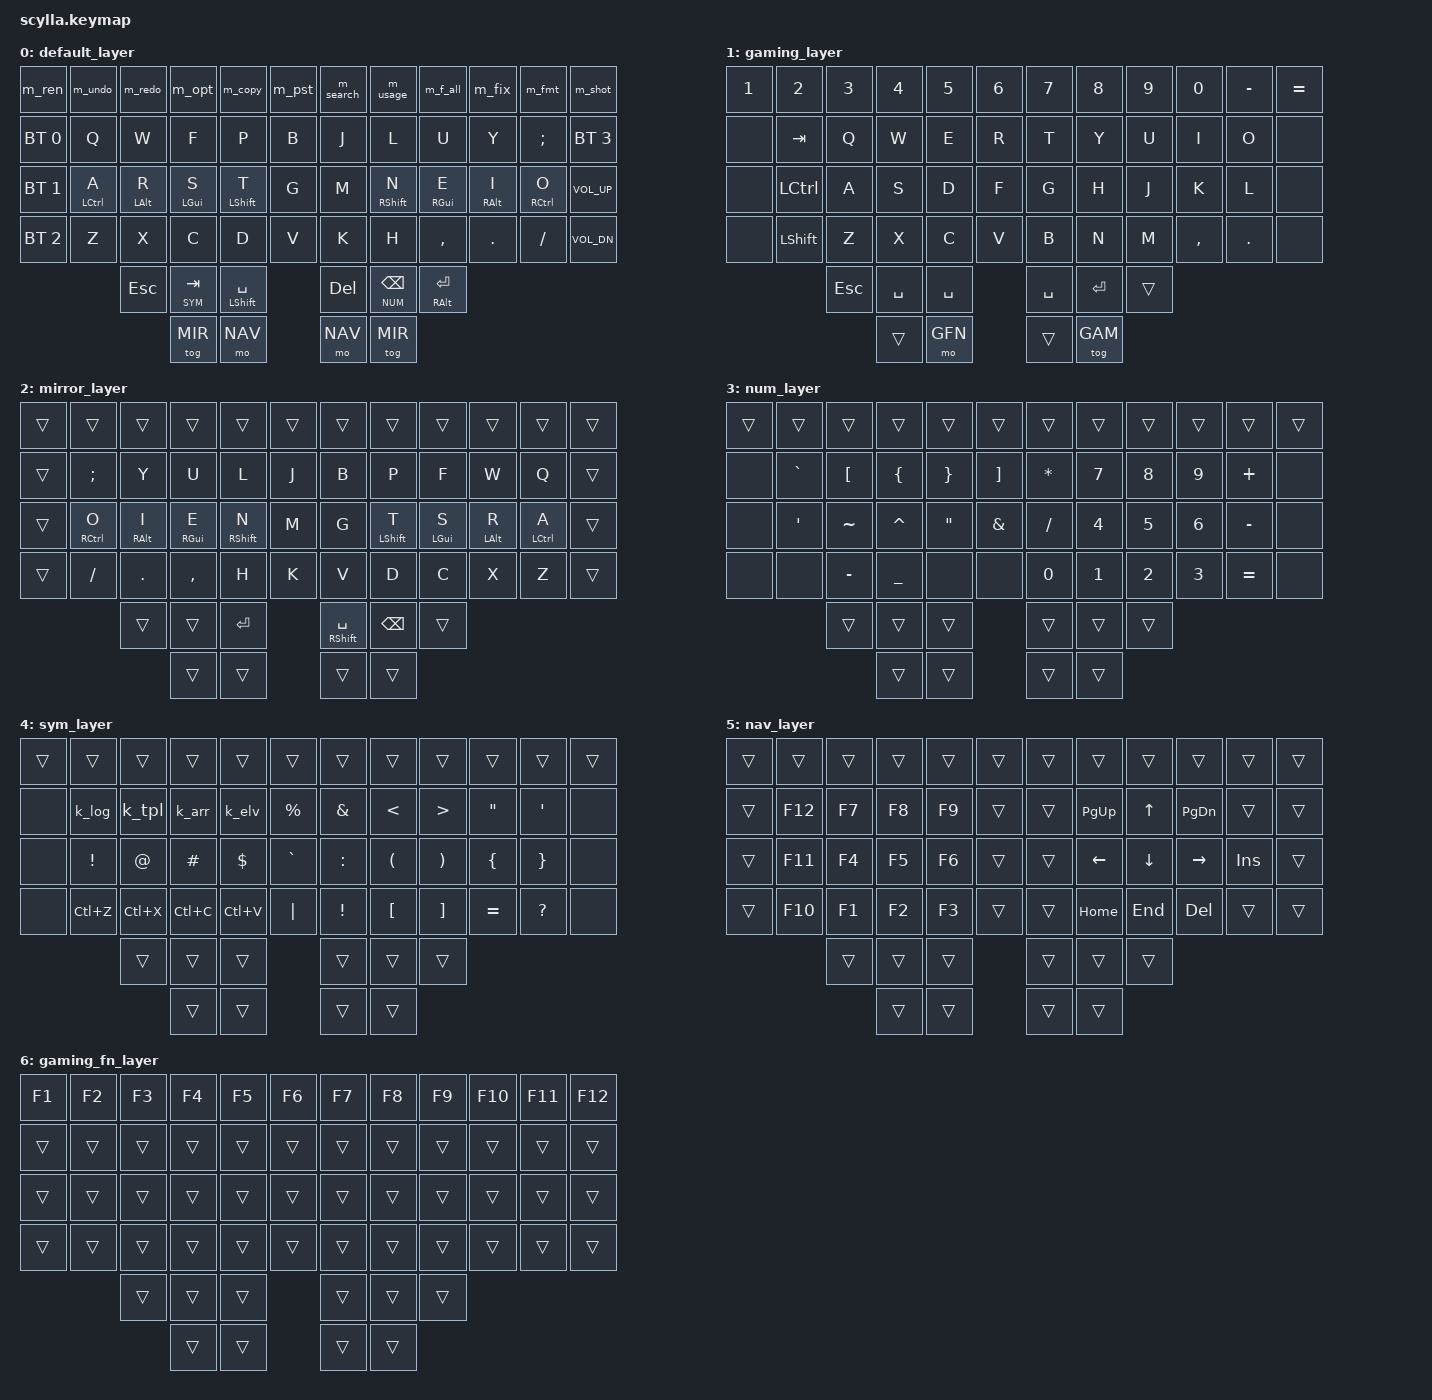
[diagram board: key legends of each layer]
/* ZMK Scylla Ultimate V9.4 - Syntax & Node Name Fix */

#include <behaviors.dtsi>
#include <dt-bindings/zmk/keys.h>
#include <dt-bindings/zmk/bt.h>
#include <dt-bindings/zmk/outputs.h>

#define DEF 0
#define GAM 1
#define MIR 2
#define NUM 3
#define SYM 4
#define NAV 5
#define GFN 6

&mt {
    tapping-term-ms = <200>;
    flavor = "tap-preferred";
};

&lt {
    tapping-term-ms = <200>;
    flavor = "balanced";
};

&sk {
    release-after-ms = <2000>;
    quick-release;
};

&sl {
    release-after-ms = <2000>;
};

/ {
    macros {
        k_arr: kotlin-arrow {
            label = "KOTLIN_ARROW";
            compatible = "zmk,behavior-macro";
            #binding-cells = <0>;
            bindings = <&kp SPACE &kp MINUS &kp GT &kp SPACE>;
        };
        k_elv: kotlin-elvis {
            label = "KOTLIN_ELVIS";
            compatible = "zmk,behavior-macro";
            #binding-cells = <0>;
            bindings = <&kp SPACE &kp QMARK &kp COLON &kp SPACE>;
        };
        k_tpl: kotlin-template {
            label = "KOTLIN_TEMPLATE";
            compatible = "zmk,behavior-macro";
            #binding-cells = <0>;
            bindings = <&kp DLLR &kp LBRC &kp RBRC &kp LEFT>;
        };
        k_log: android-log {
            label = "ANDROID_LOG";
            compatible = "zmk,behavior-macro";
            #binding-cells = <0>;
            bindings = <&kp P &kp R &kp I &kp V &kp A &kp T &kp E &kp SPACE &kp C &kp O &kp N &kp S &kp T &kp SPACE &kp V &kp A &kp L &kp SPACE &kp T &kp A &kp G>;
        };

        m_ren: rename {
            label = "RENAME";
            compatible = "zmk,behavior-macro";
            #binding-cells = <0>;
            bindings = <&kp LS(F6)>;
        };
        m_undo: undo {
            label = "UNDO";
            compatible = "zmk,behavior-macro";
            #binding-cells = <0>;
            bindings = <&kp LC(Z)>;
        };
        m_redo: redo {
            label = "REDO";
            compatible = "zmk,behavior-macro";
            #binding-cells = <0>;
            bindings = <&kp LC(LS(Z))>;
        };
        m_opt: optimize-imports {
            label = "OPTIMIZE_IMPORTS";
            compatible = "zmk,behavior-macro";
            #binding-cells = <0>;
            bindings = <&kp LC(LA(O))>;
        };
        m_copy: copy {
            label = "COPY";
            compatible = "zmk,behavior-macro";
            #binding-cells = <0>;
            bindings = <&kp LC(C)>;
        };
        m_pst: paste {
            label = "PASTE";
            compatible = "zmk,behavior-macro";
            #binding-cells = <0>;
            bindings = <&kp LC(V)>;
        };
        
        m_search: search-everywhere {
            label = "SEARCH_EVERYWHERE";
            compatible = "zmk,behavior-macro";
            #binding-cells = <0>;
            bindings = <&kp LSHFT &kp LSHFT>;
        }; 
        m_usage: find-usages {
            label = "FIND_USAGES";
            compatible = "zmk,behavior-macro";
            #binding-cells = <0>;
            bindings = <&kp LA(F7)>;
        };
        m_f_all: find-in-files {
            label = "FIND_IN_FILES";
            compatible = "zmk,behavior-macro";
            #binding-cells = <0>;
            bindings = <&kp LC(LS(F))>;
        };
        m_fix: quick-fix {
            label = "QUICK_FIX";
            compatible = "zmk,behavior-macro";
            #binding-cells = <0>;
            bindings = <&kp LA(RET)>;
        };
        m_fmt: reformat-code {
            label = "REFORMAT_CODE";
            compatible = "zmk,behavior-macro";
            #binding-cells = <0>;
            bindings = <&kp LC(LA(L))>;
        };
        m_shot: screenshot {
            label = "SCREENSHOT";
            compatible = "zmk,behavior-macro";
            #binding-cells = <0>;
            bindings = <&kp LG(LS(S))>;
        };
    };

    behaviors {
        hm: homerow-mods {
            compatible = "zmk,behavior-hold-tap";
            label = "HOMEROW_MODS";
            #binding-cells = <2>;
            tapping-term-ms = <200>;
            quick-tap-ms = <0>;
            flavor = "tap-preferred";
            bindings = <&kp>, <&kp>;
        };
    };

    combos {
        compatible = "zmk,combos";
        timeout-ms = <50>;

        combo-num-right {
            timeout-ms = <50>;
            key-positions = <15 16>;
            bindings = <&sl NUM>;
        };
        combo-sym-right {
            timeout-ms = <50>;
            key-positions = <16 17>;
            bindings = <&sl SYM>;
        };

        combo-select-all {
            timeout-ms = <50>;
            key-positions = <10 11>;
            bindings = <&kp LC(A)>;
        };
        combo-sym-left {
            timeout-ms = <50>;
            key-positions = <11 12>;
            bindings = <&sl SYM>;
        };
        
        combo-bt-clr {
            timeout-ms = <50>;
            key-positions = <0 11>;
            bindings = <&bt BT_CLR>;
        };
    };

    keymap {
        compatible = "zmk,keymap";

        default_layer {
            bindings = <
&m_ren        &m_undo      &m_redo      &m_opt       &m_copy      &m_pst            &m_search    &m_usage     &m_f_all     &m_fix       &m_fmt       &m_shot
&bt BT_SEL 0  &kp Q        &kp W        &kp F        &kp P        &kp B             &kp J        &kp L        &kp U        &kp Y        &kp SEMI     &bt BT_SEL 3
&bt BT_SEL 1  &hm LCTRL A  &hm LALT R   &hm LGUI S   &hm LSHFT T  &kp G             &kp M        &hm RSHFT N  &hm RGUI E   &hm RALT I   &hm RCTRL O  &kp C_VOL_UP
&bt BT_SEL 2  &kp Z        &kp X        &kp C        &kp D        &kp V             &kp K        &kp H        &kp COMMA    &kp DOT      &kp FSLH     &kp C_VOL_DN
                           &kp ESC      &lt SYM TAB  &mt LSHFT SPACE                &kp DEL      &lt NUM BSPC &mt RALT RET
                                        &tog MIR     &mo NAV                        &mo NAV      &tog MIR
            >;
        };

        gaming_layer {
            bindings = <
&kp N1        &kp N2       &kp N3       &kp N4       &kp N5       &kp N6            &kp N7       &kp N8       &kp N9       &kp N0       &kp MINUS    &kp EQUAL
&none         &kp TAB      &kp Q        &kp W        &kp E        &kp R             &kp T        &kp Y        &kp U        &kp I        &kp O        &none
&none         &kp LCTRL    &kp A        &kp S        &kp D        &kp F             &kp G        &kp H        &kp J        &kp K        &kp L        &none
&none         &kp LSHFT    &kp Z        &kp X        &kp C        &kp V             &kp B        &kp N        &kp M        &kp COMMA    &kp DOT      &none
                           &kp ESC      &kp SPACE    &kp SPACE                      &kp SPACE    &kp RET      &trans
                                        &trans       &mo GFN                        &trans       &tog GAM
            >;
        };

        mirror_layer {
            bindings = <
&trans    &trans       &trans       &trans       &trans       &trans            &trans       &trans       &trans       &trans       &trans       &trans
&trans    &kp SEMI     &kp Y        &kp U        &kp L        &kp J             &kp B        &kp P        &kp F        &kp W        &kp Q        &trans
&trans    &hm RCTRL O  &hm RALT I   &hm RGUI E   &hm RSHFT N  &kp M             &kp G        &hm LSHFT T  &hm LGUI S   &hm LALT R   &hm LCTRL A  &trans
&trans    &kp FSLH     &kp DOT      &kp COMMA    &kp H        &kp K             &kp V        &kp D        &kp C        &kp X        &kp Z        &trans
                       &trans       &trans       &kp RET                        &mt RSHFT SPACE &kp BSPC  &trans
                                    &trans       &trans                         &trans       &trans
            >;
        };

        num_layer {
            bindings = <
&trans        &trans       &trans       &trans       &trans       &trans            &trans       &trans       &trans       &trans       &trans       &trans
&none         &kp GRAVE    &kp LBKT     &kp LBRC     &kp RBRC     &kp RBKT          &kp STAR     &kp N7       &kp N8       &kp N9       &kp PLUS     &none
&none         &kp APOS     &kp TILDE    &kp CARET    &kp DQT      &kp AMPS          &kp FSLH     &kp N4       &kp N5       &kp N6       &kp MINUS    &none
&none         &none        &kp MINUS    &kp UNDER    &none        &none             &kp N0       &kp N1       &kp N2       &kp N3       &kp EQUAL    &none
                           &trans       &trans       &trans                         &trans       &trans       &trans
                                        &trans       &trans                         &trans       &trans
            >;
        };

        sym_layer {
            bindings = <
&trans        &trans       &trans       &trans       &trans       &trans            &trans       &trans       &trans       &trans       &trans       &trans
&none         &k_log       &k_tpl       &k_arr       &k_elv       &kp PRCNT         &kp AMPS     &kp LT       &kp GT       &kp DQT      &kp APOS     &none
&none         &kp EXCL     &kp AT       &kp HASH     &kp DLLR     &kp GRAVE         &kp COLON    &kp LPAR     &kp RPAR     &kp LBRC     &kp RBRC     &none
&none         &kp LC(Z)    &kp LC(X)    &kp LC(C)    &kp LC(V)    &kp PIPE          &kp EXCL     &kp LBKT     &kp RBKT     &kp EQUAL    &kp QMARK    &none
                           &trans       &trans       &trans                         &trans       &trans       &trans
                                        &trans       &trans                         &trans       &trans
            >;
        };

        nav_layer {
            bindings = <
&trans        &trans       &trans       &trans       &trans       &trans            &trans       &trans       &trans       &trans       &trans       &trans
&trans        &kp F12      &kp F7       &kp F8       &kp F9       &trans            &trans       &kp PG_UP    &kp UP       &kp PG_DN    &trans       &trans
&trans        &kp F11      &kp F4       &kp F5       &kp F6       &trans            &trans       &kp LEFT     &kp DOWN     &kp RIGHT    &kp INS      &trans
&trans        &kp F10      &kp F1       &kp F2       &kp F3       &trans            &trans       &kp HOME     &kp END      &kp DEL      &trans       &trans
                           &trans       &trans       &trans                         &trans       &trans       &trans
                                        &trans       &trans                         &trans       &trans
            >;
        };

        gaming_fn_layer {
            bindings = <
&kp F1        &kp F2       &kp F3       &kp F4       &kp F5       &kp F6            &kp F7       &kp F8       &kp F9       &kp F10      &kp F11      &kp F12
&trans        &trans       &trans       &trans       &trans       &trans            &trans       &trans       &trans       &trans       &trans       &trans
&trans        &trans       &trans       &trans       &trans       &trans            &trans       &trans       &trans       &trans       &trans       &trans
&trans        &trans       &trans       &trans       &trans       &trans            &trans       &trans       &trans       &trans       &trans       &trans
                           &trans       &trans       &trans                         &trans       &trans       &trans
                                        &trans       &trans                         &trans       &trans
            >;
        };
    };
};
/* EOF */
